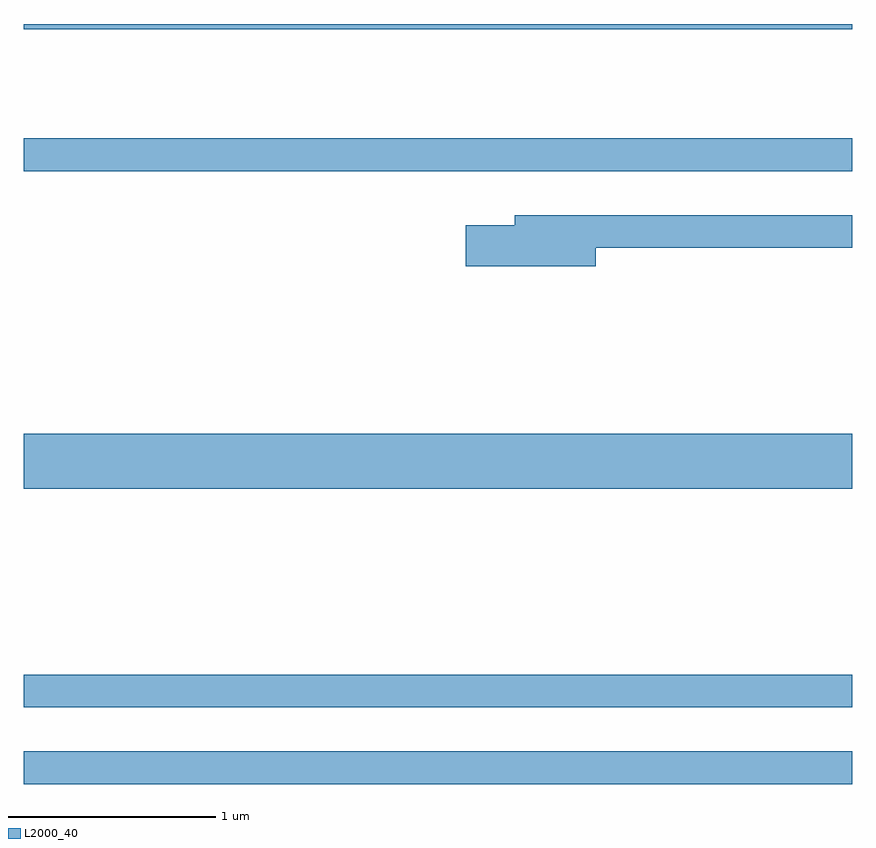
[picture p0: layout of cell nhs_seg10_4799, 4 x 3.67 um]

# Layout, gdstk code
import gdstk
lib = gdstk.Library(unit=1e-6, precision=1e-09)
def R(c, l, rs):  # rectangles x0, y0, x1, y1
    for r in rs: c.add(gdstk.rectangle(r[:2], r[2:], *l))
def P(c, l, *ps):  # polygons
    for p in ps: c.add(gdstk.Polygon(p, *l))
L2000_40 = (2000, 40)

nhs_seg10_4799 = lib.new_cell('nhs_seg10_4799')
R(nhs_seg10_4799, L2000_40, [(325.611,2196.851,329.611,2197.009), (325.611,2197.221,329.611,2197.379), (325.611,2198.276,329.611,2198.544), (325.611,2199.811,329.611,2199.969), (325.611,2200.496,329.611,2200.522)])
P(nhs_seg10_4799, L2000_40, [(328.374,2199.441),(329.611,2199.441),(329.611,2199.599),(327.981,2199.599),(327.981,2199.549),(327.746,2199.549),(327.746,2199.351),(328.374,2199.351)])

lib.write_gds('nhs_seg10_4799.gds')
